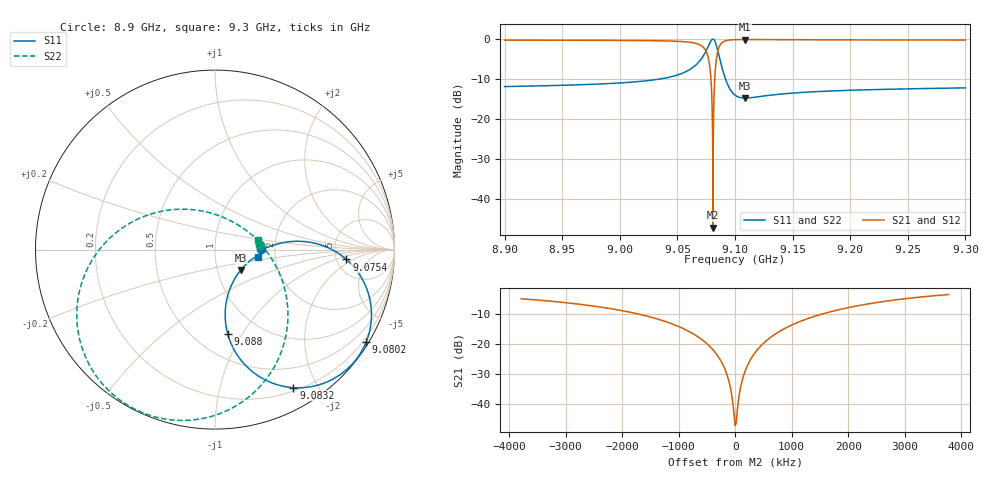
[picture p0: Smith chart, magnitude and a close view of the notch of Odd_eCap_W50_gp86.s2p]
! Sonnet Data File
! From: emgraph Version : 16.52
! From Project: Resonator2_extremeCap2
! Data is De-embedded
! Data File Written: 10/11/2017 20:35:05
!< HDATE 10/11/2017 16:33:44
!< MDATE 10/11/2017 16:33:44
!< PARAMS
!< Pwid1 = 2000.0
!< Pwid2 = 2000.0
!< Air_gap = 30.0
!< Width = 50.0
!< Gap = 86.0
!< END PARAMS
# GHZ S MA R 47.40000
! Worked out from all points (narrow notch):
!   2194 points, 8.9 GHz to 9.3 GHz, reference 47.4 ohm
!   highest |S21| = -0.15 dB at 9.1088 GHz (marker M1); lowest = -47.1 dB at 9.0809 GHz (marker M2)
!   notch at M2: 46.8 dB deep, 642 kHz wide at half that depth
!   lowest |S11| = -14.8 dB at 9.1088 GHz (marker M3), VSWR 1.45, Z = 61.3 - j14.4 ohm
!   |S11| at or under -10 dB: start of sweep to 9.0348 GHz; 9.0917 GHz to end of sweep
!   |S22| runs from -14.8 to 0.0 dB; largest |S21 - S12| = 0
!   S11 on the Smith chart (normalised r, x): 8.9 GHz: 1.68, +0.01; 9.0754 GHz: 6.16, -1.46; 9.0802 GHz: 0.09, -3.55; 9.0832 GHz: 0.24, -1.69; 9.088 GHz: 0.71, -0.87; 9.3 GHz: 1.63, -0.14
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8.9  0.2541 0.6  0.9672 -86.5  0.9672 -86.5  0.2541 6.4
!< P1 F=8.9 Eeff=(5.03074334 -2.1789e-5) Z0=(47.3979938 1.04427e-4) R=0.0 C=0.0
!< P2 F=8.9 Eeff=(5.03074334 -2.1789e-5) Z0=(47.3979938 1.04427e-4) R=0.0 C=0.0
8.96675  0.2682 1.1  0.9633 -88.1  0.9633 -88.1  0.2682 2.7
9.0335  0.3141 3.7  0.9494 -92.1  0.9494 -92.1  0.314 -8.0
9.06324  0.4385 6.0  0.8985 -101.2  0.8985 -101.2  0.4382 -28.4
9.07025  0.552 3.8  0.8332 -109.3  0.8332 -109.3  0.5516 -42.5
9.075372  0.734 -4.3  0.6772 -123.6  0.6772 -123.6  0.7333 -63.3
9.078453  0.9095 -18.2  0.4097 -142.3  0.4097 -142.3  0.9083 -87.3
9.080158  0.9871 -31.5  0.1381 -157.6  0.1381 -157.6  0.9856 -107.1
9.080489  0.9938 -34.5  0.07462 -159.9  0.07462 -159.9  0.9923 -111.5
9.080857  0.9965 -38.0  0.004392 -91.9  0.004392 -91.9  0.9949 -116.6
9.080956  0.9962 -39.0  0.01962 -1.1  0.01962 -1.1  0.9947 -118.0
9.081052  0.9957 -39.9  0.03895 4.0  0.03895 4.0  0.9941 -119.4
9.081182  0.9942 -41.2  0.06561 5.0  0.06561 5.0  0.9926 -121.2
9.081546  0.9864 -44.8  0.1408 2.6  0.1408 2.6  0.9847 -126.4
9.083211  0.8845 -60.4  0.4594 -15.8  0.4594 -15.8  0.8829 -150.1
9.08529  0.6883 -74.2  0.7223 -35.0  0.7223 -35.0  0.6868 -175.2
9.088029  0.4768 -81.4  0.8775 -50.8  0.8775 -50.8  0.4756 160.1
9.1  0.1988 -57.3  0.9798 -73.0  0.9798 -73.0  0.1983 91.5
9.10875  0.1829 -38.5  0.983 -77.6  0.983 -77.6  0.1826 63.3
9.16675  0.2184 -13.1  0.9759 -84.9  0.9759 -84.9  0.2183 23.2
9.2335  0.2355 -10.1  0.9719 -87.1  0.9719 -87.1  0.2355 15.9
9.3  0.2449 -9.7  0.9695 -88.4  0.9695 -88.4  0.2449 12.8
